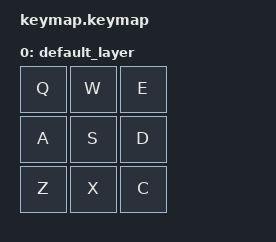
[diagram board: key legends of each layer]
/ {
    keymap {
        compatible = "zmk,keymap";

        default_layer {
            bindings = <
                &kp Q  &kp W  &kp E
                &kp A  &kp S  &kp D
                &kp Z  &kp X  &kp C
            >;
        };
    };
};
